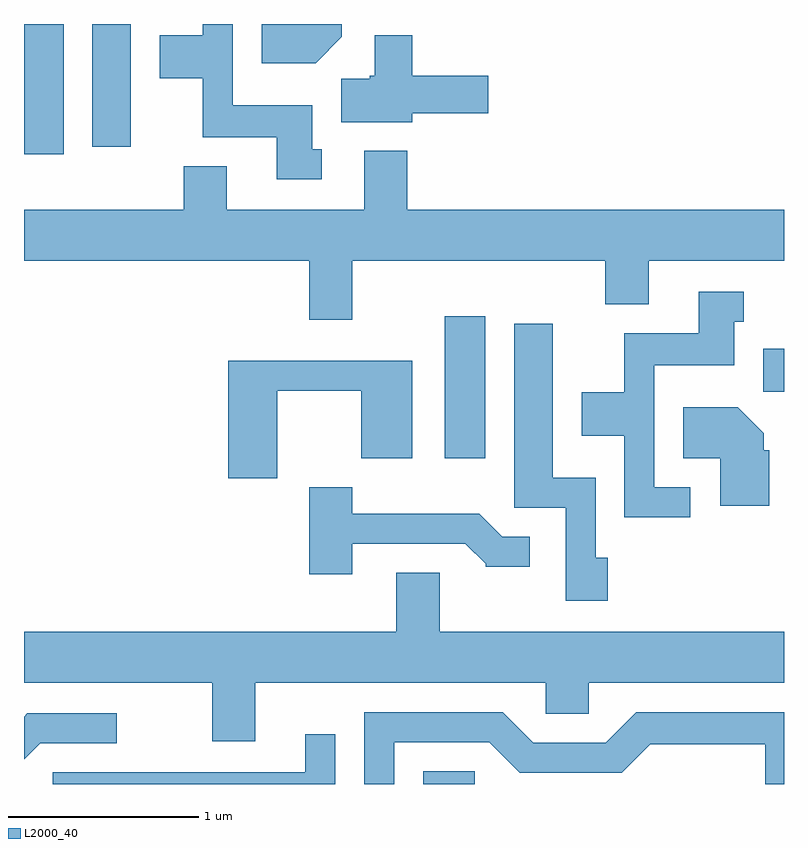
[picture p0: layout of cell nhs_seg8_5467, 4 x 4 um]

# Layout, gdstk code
import gdstk
lib = gdstk.Library(unit=1e-6, precision=1e-09)
def R(c, l, rs):  # rectangles x0, y0, x1, y1
    for r in rs: c.add(gdstk.rectangle(r[:2], r[2:], *l))
def P(c, l, *ps):  # polygons
    for p in ps: c.add(gdstk.Polygon(p, *l))
L2000_40 = (2000, 40)

nhs_seg8_5467 = lib.new_cell('nhs_seg8_5467')
R(nhs_seg8_5467, L2000_40, [(351.711,1820.342,351.983,1820.409), (351.826,1822.056,352.039,1822.804), (353.501,1822.406,353.611,1822.634), (349.611,1823.656,349.819,1824.342), (349.971,1823.696,350.174,1824.342)])
P(nhs_seg8_5467, L2000_40, [(351.178,1823.684),(351.129,1823.684),(351.129,1823.914),(350.709,1823.914),(350.709,1824.342),(350.551,1824.342),(350.551,1824.284),(350.326,1824.284),(350.326,1824.056),(350.551,1824.056),(350.551,1823.746),(350.941,1823.746),(350.941,1823.526),(351.178,1823.526)],
  [(351.284,1824.274),(351.284,1824.342),(350.861,1824.342),(350.861,1824.136),(351.147,1824.136)],
  [(351.654,1823.871),(352.054,1823.871),(352.054,1824.069),(351.654,1824.069),(351.654,1824.284),(351.456,1824.284),(351.456,1824.069),(351.43,1824.069),(351.43,1824.054),(351.281,1824.054),(351.281,1823.826),(351.654,1823.826)],
  [(351.339,1823.096),(352.671,1823.096),(352.671,1822.866),(352.899,1822.866),(352.899,1823.096),(353.611,1823.096),(353.611,1823.364),(351.629,1823.364),(351.629,1823.674),(351.401,1823.674),(351.401,1823.364),(350.679,1823.364),(350.679,1823.594),(350.451,1823.594),(350.451,1823.364),(349.611,1823.364),(349.611,1823.096),(351.111,1823.096),(351.111,1822.786),(351.339,1822.786)],
  [(353.118,1821.904),(352.929,1821.904),(352.929,1822.546),(353.349,1822.546),(353.349,1822.776),(353.398,1822.776),(353.398,1822.934),(353.161,1822.934),(353.161,1822.714),(352.771,1822.714),(352.771,1822.404),(352.546,1822.404),(352.546,1822.176),(352.771,1822.176),(352.771,1821.746),(353.118,1821.746)],
  [(352.684,1821.534),(352.619,1821.534),(352.619,1821.954),(352.394,1821.954),(352.394,1822.764),(352.191,1822.764),(352.191,1821.796),(352.461,1821.796),(352.461,1821.306),(352.684,1821.306)],
  [(350.944,1822.411),(351.386,1822.411),(351.386,1822.056),(351.654,1822.056),(351.654,1822.569),(350.686,1822.569),(350.686,1821.951),(350.944,1821.951)],
  [(353.534,1822.099),(353.504,1822.099),(353.504,1822.187),(353.367,1822.324),(353.081,1822.324),(353.081,1822.056),(353.276,1822.056),(353.276,1821.806),(353.534,1821.806)],
  [(351.339,1821.606),(351.934,1821.606),(352.04,1821.5),(352.04,1821.486),(352.273,1821.486),(352.273,1821.644),(352.127,1821.644),(352.007,1821.764),(351.339,1821.764),(351.339,1821.904),(351.111,1821.904),(351.111,1821.446),(351.339,1821.446)],
  [(350.829,1820.876),(352.356,1820.876),(352.356,1820.711),(352.584,1820.711),(352.584,1820.876),(353.611,1820.876),(353.611,1821.144),(351.799,1821.144),(351.799,1821.454),(351.571,1821.454),(351.571,1821.144),(349.611,1821.144),(349.611,1820.876),(350.601,1820.876),(350.601,1820.566),(350.829,1820.566)],
  [(351.559,1820.561),(352.059,1820.561),(352.219,1820.401),(352.757,1820.401),(352.907,1820.551),(353.511,1820.551),(353.511,1820.342),(353.611,1820.342),(353.611,1820.719),(352.834,1820.719),(352.674,1820.559),(352.292,1820.559),(352.132,1820.719),(351.401,1820.719),(351.401,1820.342),(351.559,1820.342)],
  [(349.697,1820.556),(350.098,1820.556),(350.098,1820.714),(349.629,1820.714),(349.611,1820.696),(349.611,1820.471)],
  [(351.249,1820.603),(351.091,1820.603),(351.091,1820.404),(349.761,1820.404),(349.761,1820.342),(351.249,1820.342)])

lib.write_gds('nhs_seg8_5467.gds')
